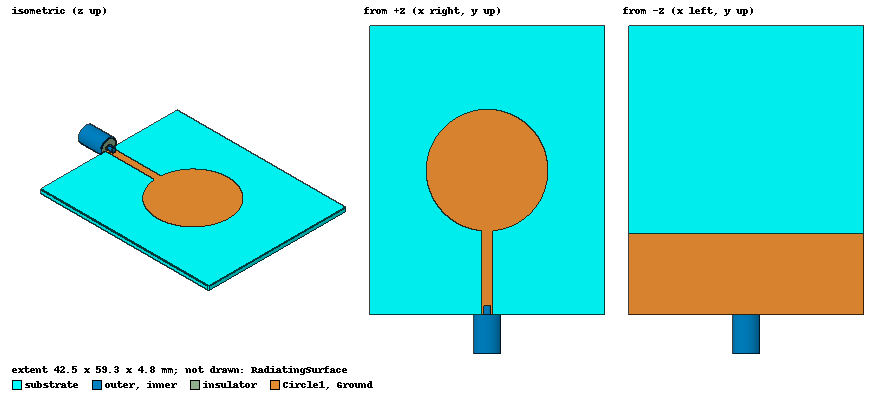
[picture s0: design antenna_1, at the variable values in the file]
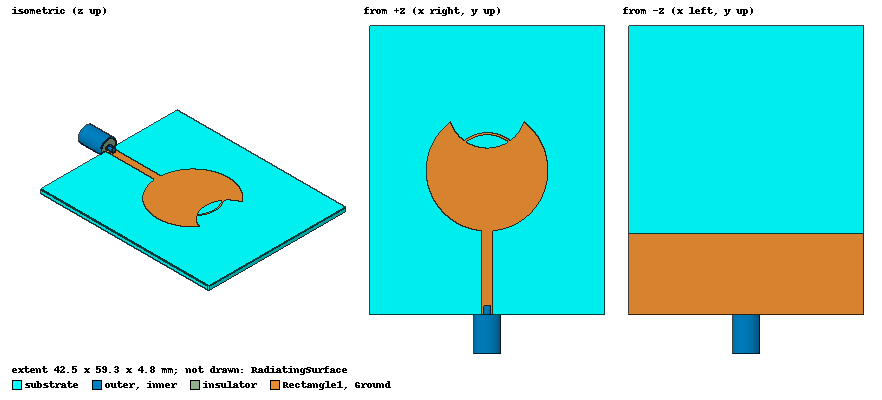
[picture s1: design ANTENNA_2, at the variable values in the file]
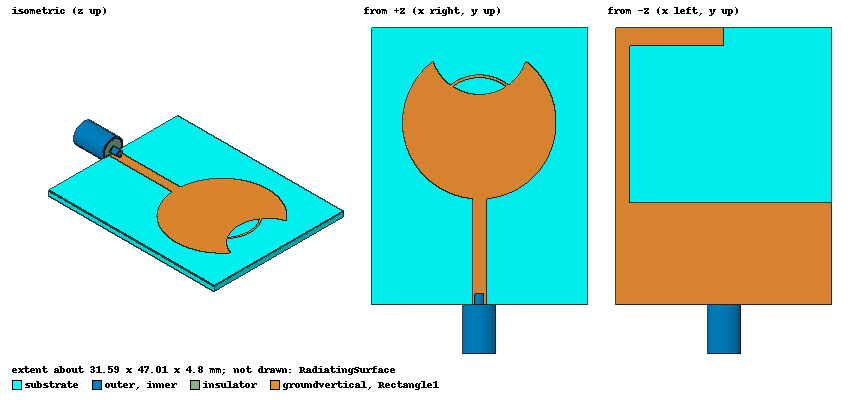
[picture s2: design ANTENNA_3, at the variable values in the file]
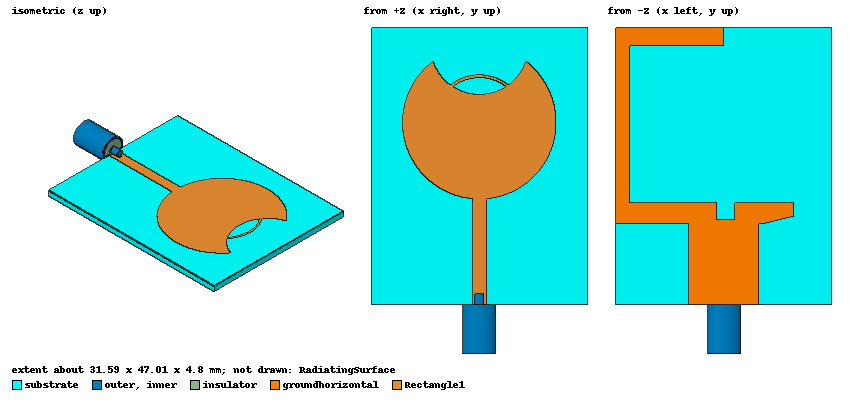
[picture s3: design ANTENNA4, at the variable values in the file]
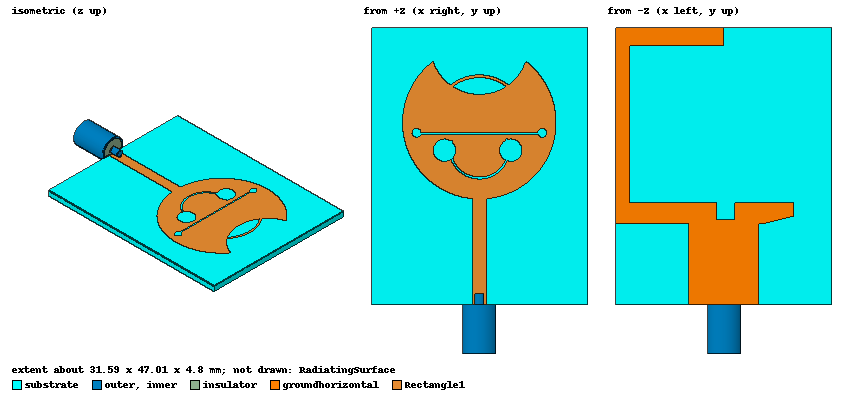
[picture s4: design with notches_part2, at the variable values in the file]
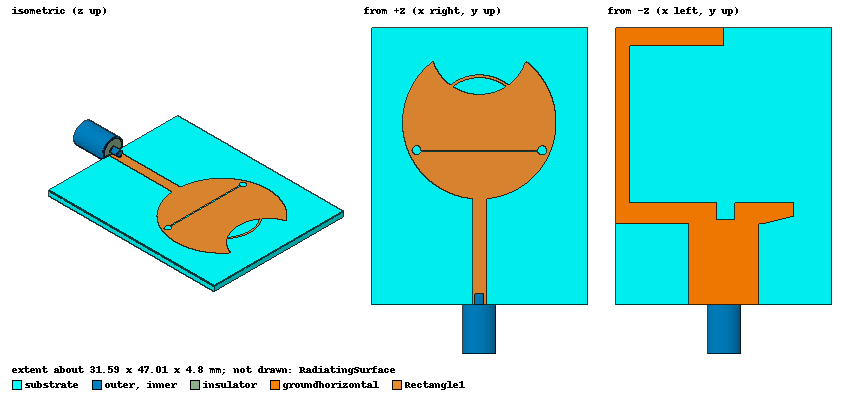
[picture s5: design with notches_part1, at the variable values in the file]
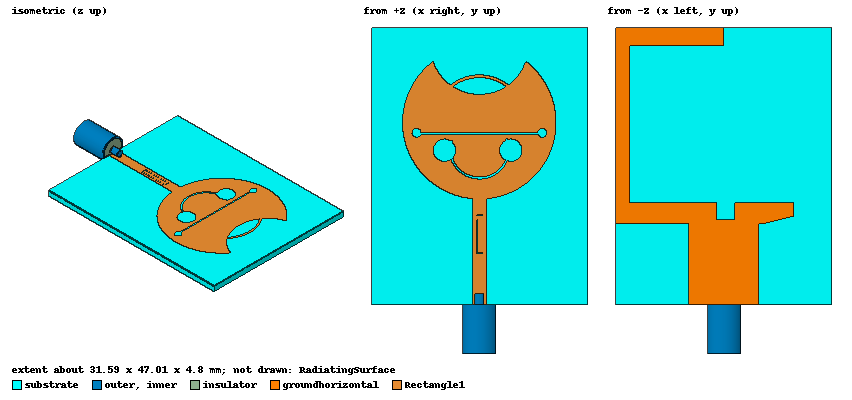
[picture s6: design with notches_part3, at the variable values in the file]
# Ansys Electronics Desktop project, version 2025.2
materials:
  vacuum: permittivity=1
  FR4_epoxy: permittivity=4.4 dielectric_loss_tangent=0.02
  copper: permeability=0.999991 conductivity=58000000
  Teflon (tm): permittivity=2.1 dielectric_loss_tangent=0.001
  pec: conductivity=1e+30

design antenna_1 (HFSS, HFSS Modal Network, model units mm)
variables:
  sx = 7.35mm
  SUBHH = 1.5mm
  pin_d = 0.36mm
  pinl = 1.5mm
  sy = 2.5mm
  in = 0.43mm
  tefd = 2.2mm
  out_d = 2.6mm
  outl = 4mm
  innerD = 0.63mm
  H = 1.56mm
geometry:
  substrate [FR4_epoxy] = box(corner=(-21.25mm, -26.15mm, 0mm), size=(42.5mm, 52.3mm, 1.2mm))
  Ground = rectangle(corner=(-21.25mm, -26.15mm, 0mm), x_size=42.5mm, y_size=14.7mm)
  Circle1 = circle(normal=Z, centre=(0mm, 0mm, 1.2mm), radius=11mm)
  Rectangle1 = rectangle(corner=(-1mm, -26.15mm, 1.2mm), x_size=2mm, y_size=15.3mm)
  Circle1.unite(Rectangle1)
  RadiatingSurface [vacuum] = region(absolute_offset=13.605442mm on all sides)
  coordinate_system out_cs = origin=(0mm, -sy, 0mm) x=(1mm, 0mm, 0mm) y=(0mm, 1mm, 0mm)
  coordinate_system RelativeCS7 = origin=(0mm, -outl, 0mm) x=(1mm, 0mm, 0mm) y=(0mm, 1mm, 0mm) in out_cs
  inner [copper] = cylinder(axis=X, base_centre=(14mm, 0mm, H +0.64mm), radius=0.64mm, height=8.65mm)
  Cylinder1_1 = inner.copy()
  inner_1 = inner.copy()
  insulator [Teflon (tm)] = cylinder(axis=X, base_centre=(15.65mm, 0mm, H+0.64mm), radius=2.1mm, height=7mm)
  insulator.subtract(Cylinder1_1)
  insulator_1 = insulator.copy()
  outer [copper] = cylinder(axis=X, base_centre=(15.65mm, 0mm, H+0.64 mm), radius=2.4mm, height=7mm)
  outer.subtract(inner_1, insulator_1)
  [inner, insulator, outer].rotate(axis=Z, angle=270deg)
  [inner, insulator, outer].move(-21.25mm, -10.5mm, -2.220446e-16mm)
  [inner, insulator, outer].move(3.5527137e-15mm, 0mm, -0.36mm)
  [inner, insulator, outer].move(21.25mm, 0mm, 0mm)
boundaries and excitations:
  PerfE1: Perfect E Objects=Circle1
  PerfE2: Perfect E Objects=Ground
  Open1: Radiation Objects=RadiatingSurface
  1: Lumped Port Faces=inner.face(at (0, -33.15, 1.84)) insulator.face(at (0, -33.15, 1.84)) outer.face(at (0, -33.15, 1.84)) LumpedPortType=Modal Modes{Mode1{IntLine{(0, -33.15, 1.84) -> (0, -33.15, 4.24)} CharImp=Zpi}} Impedance=50ohm
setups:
  Setup1: HfssDriven MultipleAdaptiveFreqsSetup{Low=2GHz High=12GHz} MaxDeltaS=0.02 MaximumPasses=6 MinimumPasses=1 MinimumConvergedPasses=1 PercentRefinement=30 BasisOrder=1 PortAccuracy=2 DrivenSolverType="Direct Solver"
    sweep Sweep: 2.7GHz to 12GHz, 101 points; Type=Interpolating SaveFields InterpTolerance=0.5 InterpMaxSolns=250 InterpUsePortImped=false PassivityErrorTolerance=0.0001
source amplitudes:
  1:1: 1W 0deg
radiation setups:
  3D: Infinite Sphere Theta=0deg..180deg step 2deg Phi=-180deg..180deg step 2deg
  Elevation: Infinite Sphere Theta=-180deg..180deg step 1deg Phi=0deg..90deg step 90deg
  Azimuth: Infinite Sphere Theta=90deg..90deg step 0deg Phi=-180deg..180deg step 1deg
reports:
  S Parameter Plot1: dB(S(1,1)) vs Freq on Setup1 : Sweep; markers m1 at 3.258GHz, m2 at 4.746GHz, m3 at 5.862GHz, m4 at 7.536GHz, m5 at 8.652GHz, m6 at 9.303GHz, m7 at 10.326GHz, m8 at 11.256GHz, m9 at 12GHz
  Gain Plot1: dB(GainTotal) vs Theta on Setup1 : LastAdaptive, 3D [Phi=0deg Freq=7GHz]
  Gain Plot2: dB(GainTotal) vs Theta on Setup1 : LastAdaptive, 3D [Phi=90deg Freq=7GHz]
  Gain Plot3: dB(GainTotal) vs Phi, Theta on Setup1 : LastAdaptive, 3D [Freq=7GHz]

design ANTENNA_2 (HFSS, HFSS Modal Network, model units mm)
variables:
  r1 = 11mm
  r2 = 7mm
  h = 1.2mm
  r3 = 6.4mm
  r4 = 6.8mm
  l1 = 15.3mm
  w1 = 2mm
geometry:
  substrate [FR4_epoxy] = box(corner=(-21.25mm, -26.15mm, 0mm), size=(42.5mm, 52.3mm, 1.2mm))
  Ground = rectangle(corner=(-21.25mm, -26.15mm, 0mm), x_size=42.5mm, y_size=14.7mm)
  Circle1 = circle(normal=Z, centre=(0mm, 0mm, 1.2mm), radius=11mm)
  Rectangle1 = rectangle(corner=(-1mm, -26.15mm, 1.2mm), x_size=2mm, y_size=15.3mm)
  RadiatingSurface [vacuum] = region(absolute_offset=13.605442mm on all sides)
  Circle2 = circle(normal=Z, centre=(0mm, r1, 1.2mm), radius=r2)
  Circle3 = circle(normal=Z, centre=(0mm, 0, h), radius=r3)
  Circle4 = circle(normal=Z, centre=(0mm, 0mm, h), radius=r4)
  Circle1.subtract(Circle2)
  Circle4.subtract(Circle3)
  Circle1.unite(Circle4)
  Rectangle1.unite(Circle1)
  inner [copper] = cylinder(axis=X, base_centre=(14mm, 0mm, H +0.64mm), radius=0.64mm, height=8.65mm)
  Cylinder1_1 = inner.copy()
  inner_1 = inner.copy()
  inner.rotate(axis=Z, angle=270deg)
  inner.move(-21.25mm, -10.5mm, -2.220446e-16mm)
  inner.move(3.5527137e-15mm, 0mm, -0.36mm)
  inner.move(21.25mm, 0mm, 0mm)
  insulator [Teflon (tm)] = cylinder(axis=X, base_centre=(15.65mm, 0mm, H+0.64mm), radius=2.1mm, height=7mm)
  insulator.subtract(Cylinder1_1)
  insulator_1 = insulator.copy()
  insulator.rotate(axis=Z, angle=270deg)
  insulator.move(-21.25mm, -10.5mm, -2.220446e-16mm)
  insulator.move(3.5527137e-15mm, 0mm, -0.36mm)
  insulator.move(21.25mm, 0mm, 0mm)
  outer [copper] = cylinder(axis=X, base_centre=(15.65mm, 0mm, H+0.64 mm), radius=2.4mm, height=7mm)
  outer.subtract(inner_1, insulator_1)
  outer.rotate(axis=Z, angle=270deg)
  outer.move(-21.25mm, -10.5mm, -2.220446e-16mm)
  outer.move(3.5527137e-15mm, 0mm, -0.36mm)
  outer.move(21.25mm, 0mm, 0mm)
  [inner, outer, insulator].move(-21.25mm, 0mm, 0.36mm)
  [inner, outer, insulator].move(21.25mm, 0mm, -2.220446e-16mm)
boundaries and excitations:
  PerfE2: Perfect E Objects=Ground
  Open1: Radiation Objects=RadiatingSurface
  PerfE3: Perfect E Objects=Rectangle1
  2: Lumped Port Faces=inner.face(at (0, -33.15, 1.84)) insulator.face(at (0, -33.15, 1.84)) outer.face(at (0, -33.15, 1.84)) LumpedPortType=Modal Modes{Mode1{IntLine{(0, -33.15, 1.84) -> (0, -33.15, 4.24)} CharImp=Zpi}} Impedance=50ohm
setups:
  Setup1: HfssDriven MultipleAdaptiveFreqsSetup{Low=2.7GHz High=12GHz} MaxDeltaS=0.02 MaximumPasses=6 MinimumPasses=1 MinimumConvergedPasses=1 PercentRefinement=30 BasisOrder=1 PortAccuracy=2 DrivenSolverType="Direct Solver"
    sweep Sweep: 2.7GHz to 12GHz, 101 points; Type=Interpolating SaveFields InterpTolerance=0.5 InterpMaxSolns=250 InterpUsePortImped=false PassivityErrorTolerance=0.0001
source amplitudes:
  2:1: 1W 0deg
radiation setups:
  3D: Infinite Sphere Theta=0deg..180deg step 2deg Phi=-180deg..180deg step 2deg
  Elevation: Infinite Sphere Theta=-180deg..180deg step 1deg Phi=0deg..90deg step 90deg
  Azimuth: Infinite Sphere Theta=90deg..90deg step 0deg Phi=-180deg..180deg step 1deg
  Infinite Sphere1: Infinite Sphere Theta=-180deg..180deg step 2deg Phi=0deg..90deg step 90deg
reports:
  S Parameter Plot1: dB(S(1,1)) vs Freq on Setup1 : Sweep; markers m1 at 3.351GHz, m2 at 4.746GHz, m3 at 7.071GHz, m4 at 8.931GHz, m5 at 10.326GHz, m6 at 12GHz, m7 at 3.444GHz, m8 at 4.374GHz
  Gain Plot1: dB(GainTotal) vs Phi, Theta on Setup1 : LastAdaptive, 3D [Freq=7.35GHz]
  S Parameter Plot2: dB(S(2,2)) vs Freq on Setup1 : Sweep; markers m1 at 3.444GHz, m2 at 4.839GHz, m3 at 6.234GHz, m4 at 7.722GHz, m5 at 8.652GHz, m6 at 9.396GHz, m7 at 10.512GHz
  S Parameter Plot3: dB(S(2,2)) vs Freq on Setup1 : Sweep; markers m1 at 3.444GHz, m2 at 6.42GHz, m3 at 4.839GHz, m4 at 7.629GHz, m5 at 8.652GHz, m6 at 10.512GHz, m7 at 11.442GHz, m8 at 3.165GHz
  Gain Plot2: dB(GainTotal) vs Phi, Theta on Setup1 : LastAdaptive, 3D [Freq=7.35GHz]
  Gain Plot3: dB(GainTotal) vs Theta on Setup1 : LastAdaptive, Infinite Sphere1 [Phi=0deg,90deg Freq=7.35GHz]
  Gain Plot4: dB(GainTotal) vs Theta on Setup1 : LastAdaptive, Infinite Sphere1 [Phi=all Freq=7.35GHz]

design ANTENNA_3 (HFSS, HFSS Modal Network, model units mm)
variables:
  r2 = 7mm
  r3 = 6.4mm
  r1 = 11mm
  h = 1.2mm
  r4 = 6.8mm
  l5 = 2.5mm
  l4 = 22.5mm
  w = 90mm
  w8 = 5mm
  w4 = 2mm
  w5 = 13.5mm
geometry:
  substrate [FR4_epoxy] = box(corner=(-21.25mm, -26.15mm, 0mm), size=(42.5mm, 52.3mm, 1.2mm))
  Ground = rectangle(corner=(-21.25mm, -26.15mm, 0mm), x_size=42.5mm, y_size=14.7mm)
  Rectangle1 = rectangle(corner=(-1mm, -26.15mm, 1.2mm), x_size=2mm, y_size=15.3mm)
  Circle1 = circle(normal=Z, centre=(0mm, 0mm, 1.2mm), radius=11mm)
  Circle2 = circle(normal=Z, centre=(0mm, r1, 1.2mm), radius=r2)
  Circle1.subtract(Circle2)
  Circle4 = circle(normal=Z, centre=(0mm, 0mm, h), radius=r4)
  Circle3 = circle(normal=Z, centre=(0mm, 0, h), radius=r3)
  Circle4.subtract(Circle3)
  Circle1.unite(Circle4)
  groundhorizontal = rectangle(corner=((w/2-w8/2)/2, l4/2-0.5mm, 0), x_size=-(w4+w5), y_size=l5)
  groundvertical = rectangle(corner=(13.5mm, -(22.5/2) mm, 0mm), x_size=2mm, y_size=22.5mm)
  groundvertical.move(0mm, -0.2mm, 0mm)
  groundhorizontal.move(0mm, 0.3mm, 0mm)
  groundhorizontal.move(-5.75mm, 0mm, 0mm)
  groundvertical.unite(Ground, groundhorizontal)
  Rectangle1.unite(Circle1)
  Box1 = box(corner=(-21.25mm, 13.55mm, 0mm), size=(42.5mm, 12.6mm, 1.2mm))
  substrate.subtract(Box1)
  Box2 = box(corner=(15.5mm, -26.15mm, 0mm), size=(5.75mm, 39.7mm, 1.2mm))
  Box2_1 = Box2.duplicate_mirror(point=(0mm, -26.15mm, 1.2mm), normal=(1mm, 0mm, 1.4325458e-17mm))
  substrate.subtract(Box2, Box2_1)
  Rectangle3 = rectangle(corner=(15.5mm, -11.45mm, 0mm), x_size=5.75mm, y_size=-14.7mm)
  Rectangle3_1 = Rectangle3.duplicate_mirror(point=(0mm, -26.15mm, 1.2mm), normal=(1mm, 0mm, 1.4325458e-17mm))
  groundvertical.subtract(Rectangle3, Rectangle3_1)
  inner [copper] = cylinder(axis=X, base_centre=(14mm, 0mm, H +0.64mm), radius=0.64mm, height=8.65mm)
  Cylinder1_1 = inner.copy()
  inner_1 = inner.copy()
  inner.rotate(axis=Z, angle=270deg)
  inner.move(-21.25mm, -10.5mm, -2.220446e-16mm)
  inner.move(3.5527137e-15mm, 0mm, -0.36mm)
  inner.move(21.25mm, 0mm, 0mm)
  insulator [Teflon (tm)] = cylinder(axis=X, base_centre=(15.65mm, 0mm, H+0.64mm), radius=2.1mm, height=7mm)
  insulator.subtract(Cylinder1_1)
  insulator_1 = insulator.copy()
  insulator.rotate(axis=Z, angle=270deg)
  insulator.move(-21.25mm, -10.5mm, -2.220446e-16mm)
  insulator.move(3.5527137e-15mm, 0mm, -0.36mm)
  insulator.move(21.25mm, 0mm, 0mm)
  outer [copper] = cylinder(axis=X, base_centre=(15.65mm, 0mm, H+0.64 mm), radius=2.4mm, height=7mm)
  outer.subtract(inner_1, insulator_1)
  outer.rotate(axis=Z, angle=270deg)
  outer.move(-21.25mm, -10.5mm, -2.220446e-16mm)
  outer.move(3.5527137e-15mm, 0mm, -0.36mm)
  outer.move(21.25mm, 0mm, 0mm)
  RadiatingSurface [vacuum] = region(absolute_offset=13.605442mm on all sides)
  [inner, outer, insulator].move(-15.5mm, 7.1054274e-15mm, 0.36mm)
  [inner, outer, insulator].move(15.5mm, -7.1054274e-15mm, 2.220446e-16mm)
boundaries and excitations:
  PerfE3: Perfect E Objects=Rectangle1
  PerfE4: Perfect E Objects=groundvertical
  Open1: Radiation Objects=RadiatingSurface
  2: Lumped Port Faces=inner.face(at (0, -33.15, 1.84)) insulator.face(at (0, -33.15, 1.84)) outer.face(at (0, -33.15, 1.84)) LumpedPortType=Modal Modes{Mode1{IntLine{(0, -33.15, 1.84) -> (0, -33.15, 4.24)} CharImp=Zpi}} Impedance=50ohm
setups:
  Setup2: HfssDriven MultipleAdaptiveFreqsSetup{Low=2.7GHz High=12GHz} MaxDeltaS=0.02 MaximumPasses=6 MinimumPasses=1 MinimumConvergedPasses=1 PercentRefinement=30 BasisOrder=1 PortAccuracy=2 DrivenSolverType="Direct Solver"
    sweep Sweep: 2.7GHz to 12GHz, 101 points; Type=Interpolating InterpTolerance=0.5 InterpMaxSolns=250 InterpUsePortImped=false PassivityErrorTolerance=0.0001
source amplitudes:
  2:1: 1W 0deg
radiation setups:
  3D: Infinite Sphere Theta=0deg..180deg step 2deg Phi=-180deg..180deg step 2deg
  Elevation: Infinite Sphere Theta=-180deg..180deg step 1deg Phi=0deg..90deg step 90deg
  Azimuth: Infinite Sphere Theta=90deg..90deg step 0deg Phi=-180deg..180deg step 1deg
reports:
  S Parameter Plot2: dB(S(1,1)) vs Freq on Setup2 : Sweep; markers m1 at 3.909GHz, m2 at 3.165GHz, m3 at 5.118GHz, m4 at 6.606GHz, m5 at 7.164GHz, m6 at 8.373GHz, m7 at 9.21GHz, m8 at 10.791GHz, m9 at 12GHz, m10 at 4.374GHz
  Gain Plot1: dB(GainTotal) vs Phi, Theta on Setup2 : LastAdaptive, 3D [Freq=7.35GHz]
  Gain Plot2: dB(GainTotal) vs Theta on Setup2 : LastAdaptive, 3D [Phi=0deg,90deg Freq=7.35GHz]

design ANTENNA4 (HFSS, HFSS Modal Network, model units mm)
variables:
  r2 = 7mm
  r4 = 6.8mm
  h = 1.2mm
  r1 = 11mm
  r3 = 6.4mm
  w4 = 2mm
  w5 = 13.5mm
  l4 = 22.5mm
  w = 90mm
  l5 = 2.5mm
  w8 = 5mm
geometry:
  substrate [FR4_epoxy] = box(corner=(-21.25mm, -26.15mm, 0mm), size=(42.5mm, 52.3mm, 1.2mm))
  Rectangle1 = rectangle(corner=(-1mm, -26.15mm, 1.2mm), x_size=2mm, y_size=15.3mm)
  Circle1 = circle(normal=Z, centre=(0mm, 0mm, 1.2mm), radius=11mm)
  Circle2 = circle(normal=Z, centre=(0mm, r1, 1.2mm), radius=r2)
  Circle1.subtract(Circle2)
  Circle4 = circle(normal=Z, centre=(0mm, 0mm, h), radius=r4)
  Circle3 = circle(normal=Z, centre=(0mm, 0, h), radius=r3)
  Circle4.subtract(Circle3)
  Circle1.unite(Circle4)
  Rectangle1.unite(Circle1)
  groundhorizontal = rectangle(corner=((w/2-w8/2)/2, l4/2-0.2mm, 0), x_size=-(w4+w5), y_size=l5)
  groundhorizontal.move(-5.75mm, 1.7763568e-15mm, 0mm)
  gmid = rectangle(corner=(-5mm, -11.45mm, 0mm), x_size=10mm, y_size=-14.7mm)
  Rectangle3 = rectangle(corner=(-1.5mm, -13.95mm, 0mm), x_size=0.5mm, y_size=2.5mm)
  gmid.subtract(Rectangle3)
  Ground = rectangle(corner=(-21.25mm, -26.15mm, 0mm), x_size=42.5mm, y_size=14.7mm)
  groundminus = rectangle(corner=(-5mm, -14.45mm, 0mm), x_size=-16.25mm, y_size=-11.7mm)
  groundminus_1 = groundminus.duplicate_mirror(point=(0mm, -26.15mm, 1.2mm), normal=(1mm, 0mm, 1.0449158e-17mm))
  Ground.subtract(groundminus)
  Ground.subtract(groundminus_1)
  Rectangle4 = rectangle(corner=(-21.25mm, -14.45mm, 0mm), x_size=11.25mm, y_size=3mm)
  Ground.subtract(Rectangle4)
  Rectangle5 = rectangle(corner=(-10mm, -14.45mm, 0mm), x_size=9mm, y_size=3mm)
  Ground.subtract(Rectangle5)
  groundleft = rectangle(corner=(-1mm, -11.45mm, 0mm), x_size=-9mm, y_size=-3mm)
  gap = rectangle(corner=(1mm, -11.45mm, 0mm), x_size=-(2.5mm), y_size=-2.5mm)
  groundleft.subtract(gap)
  Polyline1 = polyline(z=0mm, xy in mm: (-10, -14.45) (-10, -13.45) (-6, -14.45) (-10, -14.45), closed, covered)
  groundleft.subtract(Polyline1)
  groundvertical = rectangle(corner=(13.5mm, -(22.5/2) mm, 0mm), x_size=2mm, y_size=22.5mm)
  groundvertical.move(-1.7763568e-15mm, -0.2mm, 0mm)
  groundhorizontal.unite(gmid, Ground, groundleft, groundvertical)
  Rectangle6 = rectangle(corner=(-1mm, -11.45mm, 0mm), x_size=2mm, y_size=-2.5mm)
  groundhorizontal.subtract(Rectangle6)
  Box1 = box(corner=(-21.25mm, 13.55mm, 0mm), size=(42.5mm, 12.6mm, 1.2mm))
  Box2 = box(corner=(15.5mm, -26.15mm, 0mm), size=(5.75mm, 39.7mm, 1.2mm))
  Box2_1 = Box2.duplicate_mirror(point=(0mm, -26.15mm, 1.2mm), normal=(1mm, 4.5841467e-16mm, 1.4325458e-17mm))
  substrate.subtract(Box1, Box2, Box2_1)
  Rectangle7 = rectangle(corner=(15.5mm, -11.45mm, 0mm), x_size=5.75mm, y_size=-3mm)
  groundhorizontal.subtract(Rectangle7)
  inner [copper] = cylinder(axis=X, base_centre=(14mm, 0mm, H +0.64mm), radius=0.64mm, height=8.65mm)
  Cylinder1_1 = inner.copy()
  inner_1 = inner.copy()
  inner.rotate(axis=Z, angle=270deg)
  inner.move(-21.25mm, -10.5mm, -2.220446e-16mm)
  inner.move(3.5527137e-15mm, 0mm, -0.36mm)
  inner.move(21.25mm, 0mm, 0mm)
  insulator [Teflon (tm)] = cylinder(axis=X, base_centre=(15.65mm, 0mm, H+0.64mm), radius=2.1mm, height=7mm)
  insulator.subtract(Cylinder1_1)
  insulator_1 = insulator.copy()
  insulator.rotate(axis=Z, angle=270deg)
  insulator.move(-21.25mm, -10.5mm, -2.220446e-16mm)
  insulator.move(3.5527137e-15mm, 0mm, -0.36mm)
  insulator.move(21.25mm, 0mm, 0mm)
  outer [copper] = cylinder(axis=X, base_centre=(15.65mm, 0mm, H+0.64 mm), radius=2.4mm, height=7mm)
  outer.subtract(inner_1, insulator_1)
  outer.rotate(axis=Z, angle=270deg)
  outer.move(-21.25mm, -10.5mm, -2.220446e-16mm)
  outer.move(3.5527137e-15mm, 0mm, -0.36mm)
  outer.move(21.25mm, 0mm, 0mm)
  RadiatingSurface [vacuum] = region(absolute_offset=13.605442mm on all sides)
  [insulator, inner, outer].move(-15.5mm, -1.0658141e-14mm, 0.36mm)
  [insulator, inner, outer].move(15.5mm, 1.0658141e-14mm, 2.220446e-16mm)
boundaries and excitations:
  PerfE4: Perfect E Objects=groundhorizontal
  PerfE3: Perfect E Objects=Rectangle1
  Open1: Radiation Objects=RadiatingSurface
  2: Lumped Port Faces=inner.face(at (0, -33.15, 1.84)) insulator.face(at (0, -33.15, 1.84)) outer.face(at (0, -33.15, 1.84)) LumpedPortType=Modal Modes{Mode1{IntLine{(0, -33.15, 1.84) -> (0, -33.15, 4.24)} CharImp=Zpi}} Impedance=50ohm
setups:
  Setup1: HfssDriven MultipleAdaptiveFreqsSetup{Low=2.7GHz High=12GHz} MaxDeltaS=0.02 MaximumPasses=6 MinimumPasses=1 MinimumConvergedPasses=1 PercentRefinement=30 BasisOrder=1 PortAccuracy=2 DrivenSolverType="Direct Solver"
    sweep Sweep: 2GHz to 12GHz, 101 points; Type=Discrete
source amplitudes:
  2:1: 1W 0deg
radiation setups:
  3D: Infinite Sphere Theta=0deg..180deg step 2deg Phi=-180deg..180deg step 2deg
  Elevation: Infinite Sphere Theta=-180deg..180deg step 1deg Phi=0deg..90deg step 90deg
  Azimuth: Infinite Sphere Theta=90deg..90deg step 0deg Phi=-180deg..180deg step 1deg
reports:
  S Parameter Plot1: dB(S(1,1)) vs Freq on Setup1 : Sweep; markers m1 at 3.6GHz, m2 at 3.7GHz, m3 at 4.6GHz, m4 at 5.5GHz, m5 at 7.3GHz, m6 at 8GHz, m7 at 10GHz, m8 at 11GHz, m9 at 12GHz, m10 at 7.5GHz, m11 at 3.8GHz, m12 at 3.8GHz, m13 at 3.8GHz, m14 at 3.8GHz, m15 at 3.8GHz, m16 at 3.8GHz
  S Parameter Plot2: dB(S(1,1)) vs Freq on Setup1 : Sweep
  S Parameter Plot3: dB(S(2,2)) vs Freq on Setup1 : Sweep; markers m1 at 2.9GHz, m2 at 3.8GHz, m3 at 5.8GHz, m4 at 7.5GHz, m5 at 9.9GHz, m6 at 10.7GHz
  Gain Plot1: GainTotal vs Phi, Theta on Setup1 : LastAdaptive, 3D [Freq=7.35GHz]
  Gain Plot2: dB(GainTotal) vs Phi, Theta on Setup1 : LastAdaptive, 3D [Freq=7.35GHz]
  Gain Plot3: dB(GainTotal) vs Theta on Setup1 : LastAdaptive, 3D [Phi=0deg,90deg Freq=7.35GHz]

design with notches_part2 (HFSS, HFSS Modal Network, model units mm)
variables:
  r4 = 6.8mm
  h = 1.2mm
  r1 = 11mm
  r3 = 6.4mm
  r2 = 7mm
  w5 = 13.5mm
  w = 90mm
  w4 = 2mm
  l5 = 2.5mm
  l4 = 22.5mm
  w8 = 5mm
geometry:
  substrate [FR4_epoxy] = box(corner=(-21.25mm, -26.15mm, 0mm), size=(42.5mm, 52.3mm, 1.2mm))
  Box1 = box(corner=(-21.25mm, 13.55mm, 0mm), size=(42.5mm, 12.6mm, 1.2mm))
  Box2 = box(corner=(15.5mm, -26.15mm, 0mm), size=(5.75mm, 39.7mm, 1.2mm))
  Box2_1 = Box2.duplicate_mirror(point=(0mm, -26.15mm, 1.2mm), normal=(1mm, 4.5841467e-16mm, 1.4325458e-17mm))
  substrate.subtract(Box1, Box2, Box2_1)
  Rectangle1 = rectangle(corner=(-1mm, -26.15mm, 1.2mm), x_size=2mm, y_size=15.3mm)
  Circle1 = circle(normal=Z, centre=(0mm, 0mm, 1.2mm), radius=11mm)
  Circle2 = circle(normal=Z, centre=(0mm, r1, 1.2mm), radius=r2)
  Circle1.subtract(Circle2)
  Circle4 = circle(normal=Z, centre=(0mm, 0mm, h), radius=r4)
  Circle3 = circle(normal=Z, centre=(0mm, 0, h), radius=r3)
  Circle4.subtract(Circle3)
  Circle1.unite(Circle4)
  Rectangle1.unite(Circle1)
  groundhorizontal = rectangle(corner=((w/2-w8/2)/2, l4/2-0.2mm, 0), x_size=-(w4+w5), y_size=l5)
  groundhorizontal.move(-5.75mm, 1.7763568e-15mm, 0mm)
  gmid = rectangle(corner=(-5mm, -11.45mm, 0mm), x_size=10mm, y_size=-14.7mm)
  Rectangle3 = rectangle(corner=(-1.5mm, -13.95mm, 0mm), x_size=0.5mm, y_size=2.5mm)
  gmid.subtract(Rectangle3)
  Ground = rectangle(corner=(-21.25mm, -26.15mm, 0mm), x_size=42.5mm, y_size=14.7mm)
  groundminus = rectangle(corner=(-5mm, -14.45mm, 0mm), x_size=-16.25mm, y_size=-11.7mm)
  groundminus_1 = groundminus.duplicate_mirror(point=(0mm, -26.15mm, 1.2mm), normal=(1mm, 0mm, 1.0449158e-17mm))
  Ground.subtract(groundminus)
  Ground.subtract(groundminus_1)
  Rectangle4 = rectangle(corner=(-21.25mm, -14.45mm, 0mm), x_size=11.25mm, y_size=3mm)
  Ground.subtract(Rectangle4)
  Rectangle5 = rectangle(corner=(-10mm, -14.45mm, 0mm), x_size=9mm, y_size=3mm)
  Ground.subtract(Rectangle5)
  groundleft = rectangle(corner=(-1mm, -11.45mm, 0mm), x_size=-9mm, y_size=-3mm)
  gap = rectangle(corner=(1mm, -11.45mm, 0mm), x_size=-(2.5mm), y_size=-2.5mm)
  groundleft.subtract(gap)
  Polyline1 = polyline(z=0mm, xy in mm: (-10, -14.45) (-10, -13.45) (-6, -14.45) (-10, -14.45), closed, covered)
  groundleft.subtract(Polyline1)
  groundvertical = rectangle(corner=(13.5mm, -(22.5/2) mm, 0mm), x_size=2mm, y_size=22.5mm)
  groundvertical.move(-1.7763568e-15mm, -0.2mm, 0mm)
  groundhorizontal.unite(gmid, Ground, groundleft, groundvertical)
  Rectangle6 = rectangle(corner=(-1mm, -11.45mm, 0mm), x_size=2mm, y_size=-2.5mm)
  groundhorizontal.subtract(Rectangle6)
  Rectangle7 = rectangle(corner=(15.5mm, -11.45mm, 0mm), x_size=5.75mm, y_size=-3mm)
  groundhorizontal.subtract(Rectangle7)
  Circle5 = circle(normal=Z, centre=(-8mm, -6mm, 1.2mm), radius=0.64mm)
  Circle5_1 = Circle5.duplicate_mirror(point=(0mm, -6mm, 0mm), normal=(1mm, 0mm, 0mm))
  Rectangle8 = rectangle(corner=(-7.5mm, -6.4mm, 1.2mm), x_size=17mm, y_size=0.25mm)
  Circle5.move(-1mm, 2mm, -0.2mm)
  [Rectangle8, Circle5_1].move(0mm, 2mm, -0.2mm)
  Rectangle8.move(0mm, 0.15mm, 0mm)
  Circle5_1.move(1mm, 0mm, 0mm)
  Rectangle8.move(-1mm, 0mm, 0mm)
  Circle5_1.unite(Rectangle8, Circle5)
  Circle5_1.move(0mm, 0mm, 0.2mm)
  RadiatingSurface [vacuum] = region(absolute_offset=13.605442mm on all sides)
  inner [copper] = cylinder(axis=X, base_centre=(14mm, 0mm, H +0.64mm), radius=0.64mm, height=8.65mm)
  Cylinder1_1 = inner.copy()
  inner_1 = inner.copy()
  inner.rotate(axis=Z, angle=270deg)
  inner.move(-21.25mm, -10.5mm, -2.220446e-16mm)
  inner.move(3.5527137e-15mm, 0mm, -0.36mm)
  inner.move(21.25mm, 0mm, 0mm)
  inner.move(-15.5mm, -1.0658141e-14mm, 0.36mm)
  inner.move(15.5mm, 1.0658141e-14mm, 2.220446e-16mm)
  insulator [Teflon (tm)] = cylinder(axis=X, base_centre=(15.65mm, 0mm, H+0.64mm), radius=2.1mm, height=7mm)
  insulator.subtract(Cylinder1_1)
  insulator_1 = insulator.copy()
  insulator.rotate(axis=Z, angle=270deg)
  insulator.move(-21.25mm, -10.5mm, -2.220446e-16mm)
  insulator.move(3.5527137e-15mm, 0mm, -0.36mm)
  insulator.move(21.25mm, 0mm, 0mm)
  insulator.move(-15.5mm, -1.0658141e-14mm, 0.36mm)
  insulator.move(15.5mm, 1.0658141e-14mm, 2.220446e-16mm)
  outer [copper] = cylinder(axis=X, base_centre=(15.65mm, 0mm, H+0.64 mm), radius=2.4mm, height=7mm)
  outer.subtract(inner_1, insulator_1)
  outer.rotate(axis=Z, angle=270deg)
  outer.move(-21.25mm, -10.5mm, -2.220446e-16mm)
  outer.move(3.5527137e-15mm, 0mm, -0.36mm)
  outer.move(21.25mm, 0mm, 0mm)
  outer.move(-15.5mm, -1.0658141e-14mm, 0.36mm)
  outer.move(15.5mm, 1.0658141e-14mm, 2.220446e-16mm)
  Circle10 = circle(normal=Z, centre=(6mm, -7mm, 1.2mm), radius=1.6mm)
  Circle10.move(-0.5mm, 0mm, 0mm)
  Circle10.move(-1mm, 0.5mm, 0mm)
  Circle11 = circle(normal=Z, centre=(-3.5mm, -7mm, 1.2mm), radius=1.6mm)
  Circle11.move(-0.5mm, 0mm, 0mm)
  Circle11.move(-1mm, 0.5mm, 0mm)
  Circle12 = circle(normal=Z, centre=(0mm, -6.3mm, 1.2mm), radius=4.3462628mm)
  Circle13 = circle(normal=Z, centre=(0mm, -6.3mm, 1.2mm), radius=4.0360872mm)
  Circle12.subtract(Circle13)
  Circle10.unite(Circle11, Circle12)
  [Circle5_1, Circle10].move(0mm, 2.5mm, 0mm)
  Rectangle1.subtract(Circle5_1)
  Rectangle1.subtract(Circle10)
  Rectangle9 = rectangle(corner=(-4.5mm, 1.5mm, 1.2mm), x_size=8.5mm, y_size=-3mm)
  Rectangle1.unite(Rectangle9)
  Rectangle10 = rectangle(corner=(-4.35mm, -1.75mm, 1.2mm), x_size=1.35mm, y_size=-0.8mm)
  Rectangle1.unite(Rectangle10)
  Rectangle11 = rectangle(corner=(4.5mm, -1.75mm, 1.2mm), x_size=-1.5mm, y_size=-0.65mm)
  Rectangle1.unite(Rectangle11)
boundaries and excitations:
  PerfE4: Perfect E Objects=groundhorizontal
  PerfE5: Perfect E Objects=Rectangle1
  Open1: Radiation Objects=RadiatingSurface
  2: Lumped Port Faces=inner.face(at (0, -33.15, 1.84)) insulator.face(at (0, -33.15, 1.84)) outer.face(at (0, -33.15, 1.84)) LumpedPortType=Modal Modes{Mode1{IntLine{(0, -33.15, 1.84) -> (0, -33.15, 4.24)} CharImp=Zpi}} Impedance=50ohm
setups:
  Setup1: HfssDriven MultipleAdaptiveFreqsSetup{Low=2GHz High=12GHz} MaxDeltaS=0.02 MaximumPasses=6 MinimumPasses=1 MinimumConvergedPasses=1 PercentRefinement=30 BasisOrder=1 PortAccuracy=2 DrivenSolverType="Direct Solver"
    sweep Sweep: 2GHz to 12GHz, 51 points; Type=Discrete
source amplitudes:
  2:1: 1W 0deg
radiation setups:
  3D: Infinite Sphere Theta=0deg..180deg step 2deg Phi=-180deg..180deg step 2deg
  Elevation: Infinite Sphere Theta=-180deg..180deg step 1deg Phi=0deg..90deg step 90deg
  Azimuth: Infinite Sphere Theta=90deg..90deg step 0deg Phi=-180deg..180deg step 1deg
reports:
  S Parameter Plot2: dB(S(1,1)) vs Freq on Setup1 : Sweep; markers m1 at 3.2GHz, m2 at 4GHz, m3 at 5.8GHz, m4 at 7.4GHz, m5 at 8GHz, m6 at 8.4GHz, m7 at 10.2GHz, m8 at 2.8GHz, m9 at 3.8GHz, m10 at 6.8GHz, m11 at 7.4GHz, m12 at 10GHz, m13 at 10.8GHz

design with notches_part1 (HFSS, HFSS Modal Network, model units mm)
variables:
  r3 = 6.4mm
  r1 = 11mm
  h = 1.2mm
  r4 = 6.8mm
  r2 = 7mm
  w5 = 13.5mm
  w8 = 5mm
  w = 90mm
  l5 = 2.5mm
  w4 = 2mm
  l4 = 22.5mm
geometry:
  substrate [FR4_epoxy] = box(corner=(-21.25mm, -26.15mm, 0mm), size=(42.5mm, 52.3mm, 1.2mm))
  Box1 = box(corner=(-21.25mm, 13.55mm, 0mm), size=(42.5mm, 12.6mm, 1.2mm))
  Box2 = box(corner=(15.5mm, -26.15mm, 0mm), size=(5.75mm, 39.7mm, 1.2mm))
  Box2_1 = Box2.duplicate_mirror(point=(0mm, -26.15mm, 1.2mm), normal=(1mm, 4.5841467e-16mm, 1.4325458e-17mm))
  substrate.subtract(Box1, Box2, Box2_1)
  Rectangle1 = rectangle(corner=(-1mm, -26.15mm, 1.2mm), x_size=2mm, y_size=15.3mm)
  Circle1 = circle(normal=Z, centre=(0mm, 0mm, 1.2mm), radius=11mm)
  Circle2 = circle(normal=Z, centre=(0mm, r1, 1.2mm), radius=r2)
  Circle1.subtract(Circle2)
  Circle4 = circle(normal=Z, centre=(0mm, 0mm, h), radius=r4)
  Circle3 = circle(normal=Z, centre=(0mm, 0, h), radius=r3)
  Circle4.subtract(Circle3)
  Circle1.unite(Circle4)
  Rectangle1.unite(Circle1)
  Circle5 = circle(normal=Z, centre=(-8mm, -6mm, 1.2mm), radius=0.64mm)
  Circle5_1 = Circle5.duplicate_mirror(point=(0mm, -6mm, 0mm), normal=(1mm, 0mm, 0mm))
  Circle5_1.move(0mm, 2mm, -0.2mm)
  Circle5_1.move(1mm, 0mm, 0mm)
  Rectangle8 = rectangle(corner=(-7.5mm, -6.4mm, 1.2mm), x_size=17mm, y_size=0.25mm)
  Rectangle8.move(0mm, 2mm, -0.2mm)
  Rectangle8.move(0mm, 0.15mm, 0mm)
  Rectangle8.move(-1mm, 0mm, 0mm)
  Circle5.move(-1mm, 2mm, -0.2mm)
  Circle5_1.unite(Rectangle8, Circle5)
  Circle5_1.move(0mm, 0mm, 0.2mm)
  Rectangle1.subtract(Circle5_1)
  groundhorizontal = rectangle(corner=((w/2-w8/2)/2, l4/2-0.2mm, 0), x_size=-(w4+w5), y_size=l5)
  groundhorizontal.move(-5.75mm, 1.7763568e-15mm, 0mm)
  gmid = rectangle(corner=(-5mm, -11.45mm, 0mm), x_size=10mm, y_size=-14.7mm)
  Rectangle3 = rectangle(corner=(-1.5mm, -13.95mm, 0mm), x_size=0.5mm, y_size=2.5mm)
  gmid.subtract(Rectangle3)
  Ground = rectangle(corner=(-21.25mm, -26.15mm, 0mm), x_size=42.5mm, y_size=14.7mm)
  groundminus = rectangle(corner=(-5mm, -14.45mm, 0mm), x_size=-16.25mm, y_size=-11.7mm)
  groundminus_1 = groundminus.duplicate_mirror(point=(0mm, -26.15mm, 1.2mm), normal=(1mm, 0mm, 1.0449158e-17mm))
  Ground.subtract(groundminus)
  Ground.subtract(groundminus_1)
  Rectangle4 = rectangle(corner=(-21.25mm, -14.45mm, 0mm), x_size=11.25mm, y_size=3mm)
  Ground.subtract(Rectangle4)
  Rectangle5 = rectangle(corner=(-10mm, -14.45mm, 0mm), x_size=9mm, y_size=3mm)
  Ground.subtract(Rectangle5)
  groundleft = rectangle(corner=(-1mm, -11.45mm, 0mm), x_size=-9mm, y_size=-3mm)
  gap = rectangle(corner=(1mm, -11.45mm, 0mm), x_size=-(2.5mm), y_size=-2.5mm)
  groundleft.subtract(gap)
  Polyline1 = polyline(z=0mm, xy in mm: (-10, -14.45) (-10, -13.45) (-6, -14.45) (-10, -14.45), closed, covered)
  groundleft.subtract(Polyline1)
  groundvertical = rectangle(corner=(13.5mm, -(22.5/2) mm, 0mm), x_size=2mm, y_size=22.5mm)
  groundvertical.move(-1.7763568e-15mm, -0.2mm, 0mm)
  groundhorizontal.unite(gmid, Ground, groundleft, groundvertical)
  Rectangle6 = rectangle(corner=(-1mm, -11.45mm, 0mm), x_size=2mm, y_size=-2.5mm)
  groundhorizontal.subtract(Rectangle6)
  Rectangle7 = rectangle(corner=(15.5mm, -11.45mm, 0mm), x_size=5.75mm, y_size=-3mm)
  groundhorizontal.subtract(Rectangle7)
  inner [copper] = cylinder(axis=X, base_centre=(14mm, 0mm, H +0.64mm), radius=0.64mm, height=8.65mm)
  Cylinder1_1 = inner.copy()
  inner_1 = inner.copy()
  inner.rotate(axis=Z, angle=270deg)
  inner.move(-21.25mm, -10.5mm, -2.220446e-16mm)
  inner.move(3.5527137e-15mm, 0mm, -0.36mm)
  inner.move(21.25mm, 0mm, 0mm)
  inner.move(-15.5mm, -1.0658141e-14mm, 0.36mm)
  inner.move(15.5mm, 1.0658141e-14mm, 2.220446e-16mm)
  insulator [Teflon (tm)] = cylinder(axis=X, base_centre=(15.65mm, 0mm, H+0.64mm), radius=2.1mm, height=7mm)
  insulator.subtract(Cylinder1_1)
  insulator_1 = insulator.copy()
  insulator.rotate(axis=Z, angle=270deg)
  insulator.move(-21.25mm, -10.5mm, -2.220446e-16mm)
  insulator.move(3.5527137e-15mm, 0mm, -0.36mm)
  insulator.move(21.25mm, 0mm, 0mm)
  insulator.move(-15.5mm, -1.0658141e-14mm, 0.36mm)
  insulator.move(15.5mm, 1.0658141e-14mm, 2.220446e-16mm)
  outer [copper] = cylinder(axis=X, base_centre=(15.65mm, 0mm, H+0.64 mm), radius=2.4mm, height=7mm)
  outer.subtract(inner_1, insulator_1)
  outer.rotate(axis=Z, angle=270deg)
  outer.move(-21.25mm, -10.5mm, -2.220446e-16mm)
  outer.move(3.5527137e-15mm, 0mm, -0.36mm)
  outer.move(21.25mm, 0mm, 0mm)
  outer.move(-15.5mm, -1.0658141e-14mm, 0.36mm)
  outer.move(15.5mm, 1.0658141e-14mm, 2.220446e-16mm)
  RadiatingSurface [vacuum] = region(absolute_offset=37.037037mm on all sides)
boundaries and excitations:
  PerfE4: Perfect E Objects=groundhorizontal
  PerfE5: Perfect E Objects=Rectangle1
  Open1: Radiation Objects=RadiatingSurface
  2: Lumped Port Faces=inner.face(at (0, -33.15, 1.84)) insulator.face(at (0, -33.15, 1.84)) outer.face(at (0, -33.15, 1.84)) LumpedPortType=Modal Modes{Mode1{IntLine{(0, -33.15, 1.84) -> (0, -33.15, 4.24)} CharImp=Zpi}} Impedance=50ohm
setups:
  Setup1: HfssDriven MultipleAdaptiveFreqsSetup{Low=2GHz High=12GHz} MaxDeltaS=0.02 MaximumPasses=6 MinimumPasses=1 MinimumConvergedPasses=1 PercentRefinement=30 BasisOrder=1 PortAccuracy=2 DrivenSolverType="Direct Solver"
    sweep Sweep: 2GHz to 12GHz, 101 points; Type=Interpolating InterpTolerance=0.5 InterpMaxSolns=250 InterpUsePortImped=false PassivityErrorTolerance=0.0001
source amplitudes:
  2:1: 1W 0deg
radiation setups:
  3D: Infinite Sphere Theta=0deg..180deg step 2deg Phi=-180deg..180deg step 2deg
  Elevation: Infinite Sphere Theta=-180deg..180deg step 1deg Phi=0deg..90deg step 90deg
  Azimuth: Infinite Sphere Theta=90deg..90deg step 0deg Phi=-180deg..180deg step 1deg
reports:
  S Parameter Plot1: dB(S(2,2)) vs Freq on Setup1 : Sweep

design with notches_part3 (HFSS, HFSS Modal Network, model units mm)
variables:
  r4 = 6.8mm
  h = 1.2mm
  r1 = 11mm
  r3 = 6.4mm
  r2 = 7mm
  w5 = 13.5mm
  w = 90mm
  w4 = 2mm
  l5 = 2.5mm
  l4 = 22.5mm
  w8 = 5mm
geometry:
  substrate [FR4_epoxy] = box(corner=(-21.25mm, -26.15mm, 0mm), size=(42.5mm, 52.3mm, 1.2mm))
  Box1 = box(corner=(-21.25mm, 13.55mm, 0mm), size=(42.5mm, 12.6mm, 1.2mm))
  Box2 = box(corner=(15.5mm, -26.15mm, 0mm), size=(5.75mm, 39.7mm, 1.2mm))
  Box2_1 = Box2.duplicate_mirror(point=(0mm, -26.15mm, 1.2mm), normal=(1mm, 4.5841467e-16mm, 1.4325458e-17mm))
  substrate.subtract(Box1, Box2, Box2_1)
  Rectangle1 = rectangle(corner=(-1mm, -26.15mm, 1.2mm), x_size=2mm, y_size=15.3mm)
  Circle1 = circle(normal=Z, centre=(0mm, 0mm, 1.2mm), radius=11mm)
  Circle2 = circle(normal=Z, centre=(0mm, r1, 1.2mm), radius=r2)
  Circle1.subtract(Circle2)
  Circle4 = circle(normal=Z, centre=(0mm, 0mm, h), radius=r4)
  Circle3 = circle(normal=Z, centre=(0mm, 0, h), radius=r3)
  Circle4.subtract(Circle3)
  Circle1.unite(Circle4)
  Rectangle1.unite(Circle1)
  groundhorizontal = rectangle(corner=((w/2-w8/2)/2, l4/2-0.2mm, 0), x_size=-(w4+w5), y_size=l5)
  groundhorizontal.move(-5.75mm, 1.7763568e-15mm, 0mm)
  gmid = rectangle(corner=(-5mm, -11.45mm, 0mm), x_size=10mm, y_size=-14.7mm)
  Rectangle3 = rectangle(corner=(-1.5mm, -13.95mm, 0mm), x_size=0.5mm, y_size=2.5mm)
  gmid.subtract(Rectangle3)
  Ground = rectangle(corner=(-21.25mm, -26.15mm, 0mm), x_size=42.5mm, y_size=14.7mm)
  groundminus = rectangle(corner=(-5mm, -14.45mm, 0mm), x_size=-16.25mm, y_size=-11.7mm)
  groundminus_1 = groundminus.duplicate_mirror(point=(0mm, -26.15mm, 1.2mm), normal=(1mm, 0mm, 1.0449158e-17mm))
  Ground.subtract(groundminus)
  Ground.subtract(groundminus_1)
  Rectangle4 = rectangle(corner=(-21.25mm, -14.45mm, 0mm), x_size=11.25mm, y_size=3mm)
  Ground.subtract(Rectangle4)
  Rectangle5 = rectangle(corner=(-10mm, -14.45mm, 0mm), x_size=9mm, y_size=3mm)
  Ground.subtract(Rectangle5)
  groundleft = rectangle(corner=(-1mm, -11.45mm, 0mm), x_size=-9mm, y_size=-3mm)
  gap = rectangle(corner=(1mm, -11.45mm, 0mm), x_size=-(2.5mm), y_size=-2.5mm)
  groundleft.subtract(gap)
  Polyline1 = polyline(z=0mm, xy in mm: (-10, -14.45) (-10, -13.45) (-6, -14.45) (-10, -14.45), closed, covered)
  groundleft.subtract(Polyline1)
  groundvertical = rectangle(corner=(13.5mm, -(22.5/2) mm, 0mm), x_size=2mm, y_size=22.5mm)
  groundvertical.move(-1.7763568e-15mm, -0.2mm, 0mm)
  groundhorizontal.unite(gmid, Ground, groundleft, groundvertical)
  Rectangle6 = rectangle(corner=(-1mm, -11.45mm, 0mm), x_size=2mm, y_size=-2.5mm)
  groundhorizontal.subtract(Rectangle6)
  Rectangle7 = rectangle(corner=(15.5mm, -11.45mm, 0mm), x_size=5.75mm, y_size=-3mm)
  groundhorizontal.subtract(Rectangle7)
  Circle5 = circle(normal=Z, centre=(-8mm, -6mm, 1.2mm), radius=0.64mm)
  Circle5_1 = Circle5.duplicate_mirror(point=(0mm, -6mm, 0mm), normal=(1mm, 0mm, 0mm))
  Rectangle8 = rectangle(corner=(-7.5mm, -6.4mm, 1.2mm), x_size=17mm, y_size=0.25mm)
  Circle5.move(-1mm, 2mm, -0.2mm)
  [Rectangle8, Circle5_1].move(0mm, 2mm, -0.2mm)
  Rectangle8.move(0mm, 0.15mm, 0mm)
  Circle5_1.move(1mm, 0mm, 0mm)
  Rectangle8.move(-1mm, 0mm, 0mm)
  Circle5_1.unite(Rectangle8, Circle5)
  Circle5_1.move(0mm, 0mm, 0.2mm)
  RadiatingSurface [vacuum] = region(absolute_offset=13.605442mm on all sides)
  inner [copper] = cylinder(axis=X, base_centre=(14mm, 0mm, H +0.64mm), radius=0.64mm, height=8.65mm)
  Cylinder1_1 = inner.copy()
  inner_1 = inner.copy()
  inner.rotate(axis=Z, angle=270deg)
  inner.move(-21.25mm, -10.5mm, -2.220446e-16mm)
  inner.move(3.5527137e-15mm, 0mm, -0.36mm)
  inner.move(21.25mm, 0mm, 0mm)
  inner.move(-15.5mm, -1.0658141e-14mm, 0.36mm)
  inner.move(15.5mm, 1.0658141e-14mm, 2.220446e-16mm)
  insulator [Teflon (tm)] = cylinder(axis=X, base_centre=(15.65mm, 0mm, H+0.64mm), radius=2.1mm, height=7mm)
  insulator.subtract(Cylinder1_1)
  insulator_1 = insulator.copy()
  insulator.rotate(axis=Z, angle=270deg)
  insulator.move(-21.25mm, -10.5mm, -2.220446e-16mm)
  insulator.move(3.5527137e-15mm, 0mm, -0.36mm)
  insulator.move(21.25mm, 0mm, 0mm)
  insulator.move(-15.5mm, -1.0658141e-14mm, 0.36mm)
  insulator.move(15.5mm, 1.0658141e-14mm, 2.220446e-16mm)
  outer [copper] = cylinder(axis=X, base_centre=(15.65mm, 0mm, H+0.64 mm), radius=2.4mm, height=7mm)
  outer.subtract(inner_1, insulator_1)
  outer.rotate(axis=Z, angle=270deg)
  outer.move(-21.25mm, -10.5mm, -2.220446e-16mm)
  outer.move(3.5527137e-15mm, 0mm, -0.36mm)
  outer.move(21.25mm, 0mm, 0mm)
  outer.move(-15.5mm, -1.0658141e-14mm, 0.36mm)
  outer.move(15.5mm, 1.0658141e-14mm, 2.220446e-16mm)
  Circle10 = circle(normal=Z, centre=(6mm, -7mm, 1.2mm), radius=1.6mm)
  Circle10.move(-0.5mm, 0mm, 0mm)
  Circle10.move(-1mm, 0.5mm, 0mm)
  Circle11 = circle(normal=Z, centre=(-3.5mm, -7mm, 1.2mm), radius=1.6mm)
  Circle11.move(-0.5mm, 0mm, 0mm)
  Circle11.move(-1mm, 0.5mm, 0mm)
  Circle12 = circle(normal=Z, centre=(0mm, -6.3mm, 1.2mm), radius=4.3462628mm)
  Circle13 = circle(normal=Z, centre=(0mm, -6.3mm, 1.2mm), radius=4.0360872mm)
  Circle12.subtract(Circle13)
  Circle10.unite(Circle11, Circle12)
  [Circle5_1, Circle10].move(0mm, 2.5mm, 0mm)
  Rectangle1.subtract(Circle5_1)
  Rectangle1.subtract(Circle10)
  Rectangle9 = rectangle(corner=(-4.5mm, 1.5mm, 1.2mm), x_size=8.5mm, y_size=-3mm)
  Rectangle1.unite(Rectangle9)
  Rectangle10 = rectangle(corner=(-4.35mm, -1.75mm, 1.2mm), x_size=1.35mm, y_size=-0.8mm)
  Rectangle1.unite(Rectangle10)
  Rectangle11 = rectangle(corner=(4.5mm, -1.75mm, 1.2mm), x_size=-1.5mm, y_size=-0.65mm)
  Rectangle1.unite(Rectangle11)
  Rectangle12 = rectangle(corner=(-1mm, -11.45mm, 1.2mm), x_size=2mm, y_size=-7.42mm)
  Rectangle13 = rectangle(corner=(-0.4mm, -13.9mm, 1.2mm), x_size=0.1mm, y_size=-4.9mm)
  Rectangle14 = rectangle(corner=(-0.3mm, -18.8mm, 1.2mm), x_size=0.7mm, y_size=0.1mm)
  Rectangle15 = rectangle(corner=(0.4mm, -18.8mm, 1.2mm), x_size=0.1mm, y_size=5.6mm)
  Rectangle16 = rectangle(corner=(0.4mm, -13.2mm, 1.2mm), x_size=-0.8mm, y_size=-0.1mm)
  Rectangle13.unite(Rectangle14, Rectangle15, Rectangle16)
  Rectangle1.unite(Rectangle12)
  Rectangle1.subtract(Rectangle13)
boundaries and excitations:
  PerfE4: Perfect E Objects=groundhorizontal
  PerfE5: Perfect E Objects=Rectangle1
  Open1: Radiation Objects=RadiatingSurface
  2: Lumped Port Faces=inner.face(at (0, -33.15, 1.84)) insulator.face(at (0, -33.15, 1.84)) outer.face(at (0, -33.15, 1.84)) LumpedPortType=Modal Modes{Mode1{IntLine{(0, -33.15, 1.84) -> (0, -33.15, 4.24)} CharImp=Zpi}} Impedance=50ohm
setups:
  Setup1: HfssDriven MultipleAdaptiveFreqsSetup{Low=2GHz High=12GHz} MaxDeltaS=0.02 MaximumPasses=6 MinimumPasses=1 MinimumConvergedPasses=1 PercentRefinement=30 BasisOrder=1 PortAccuracy=2 DrivenSolverType="Direct Solver"
    sweep Sweep: 2GHz to 12GHz, 101 points; Type=Discrete SaveFields
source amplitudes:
  2:1: 1W 0deg
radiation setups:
  3D: Infinite Sphere Theta=0deg..180deg step 2deg Phi=-180deg..180deg step 2deg
  Elevation: Infinite Sphere Theta=-180deg..180deg step 1deg Phi=0deg..90deg step 90deg
  Azimuth: Infinite Sphere Theta=90deg..90deg step 0deg Phi=-180deg..180deg step 1deg
  Infinite Sphere1: Infinite Sphere Theta=-180deg..180deg step 2deg Phi=0deg..90deg step 2deg
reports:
  S Parameter Plot2: dB(S(1,1)) vs Freq on Setup1 : Sweep; markers m1 at 3.2GHz, m2 at 4GHz, m3 at 5.8GHz, m4 at 7.4GHz, m5 at 8GHz, m6 at 8.4GHz, m7 at 10.2GHz, m8 at 2.8GHz, m9 at 3.8GHz, m10 at 6.8GHz, m11 at 7.2GHz, m12 at 10GHz, m13 at 10.8GHz
  Gain Plot1: cum_sum(GainTotal) vs Phi, Theta on Setup1 : LastAdaptive, 3D [Freq=7GHz]
  Gain Plot2: dB(GainTotal) vs Phi, Theta on Setup1 : LastAdaptive, 3D [Freq=7GHz]
  Gain Plot3: dB(GainTotal) vs Freq on Setup1 : Sweep, Infinite Sphere1 [Phi=0deg Theta=0deg]; markers m1 at 6.8GHz, m2 at 4.3GHz, m3 at 3.8GHz, m4 at 7.9GHz, m5 at 10.1GHz
